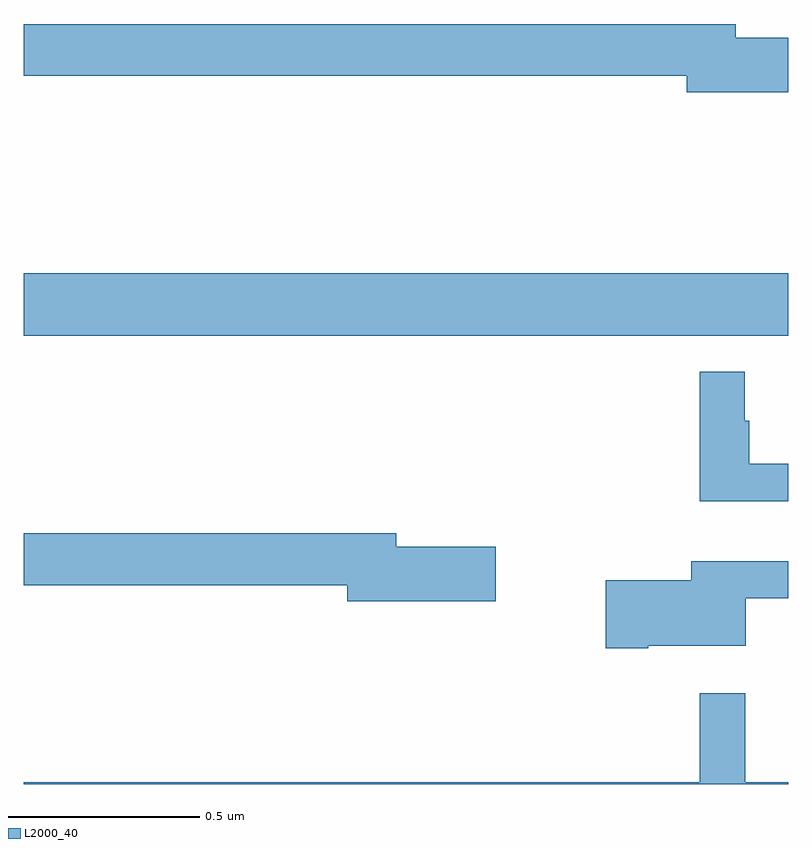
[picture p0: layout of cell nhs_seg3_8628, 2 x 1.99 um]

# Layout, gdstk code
import gdstk
lib = gdstk.Library(unit=1e-6, precision=1e-09)
def R(c, l, rs):  # rectangles x0, y0, x1, y1
    for r in rs: c.add(gdstk.rectangle(r[:2], r[2:], *l))
def P(c, l, *ps):  # polygons
    for p in ps: c.add(gdstk.Polygon(p, *l))
L2000_40 = (2000, 40)

nhs_seg3_8628 = lib.new_cell('nhs_seg3_8628')
R(nhs_seg3_8628, L2000_40, [(218,711.572,220,711.736)])
P(nhs_seg3_8628, L2000_40, [(220,712.352),(219.862,712.352),(219.862,712.388),(218,712.388),(218,712.252),(219.734,712.252),(219.734,712.21),(220,712.21)],
  [(220,711.238),(219.898,711.238),(219.898,711.35),(219.886,711.35),(219.886,711.478),(219.769,711.478),(219.769,711.14),(220,711.14)],
  [(219.235,711.02),(218.974,711.02),(218.974,711.056),(218,711.056),(218,710.92),(218.846,710.92),(218.846,710.878),(219.235,710.878)],
  [(219.634,710.762),(219.889,710.762),(219.889,710.886),(220,710.886),(220,710.983),(219.746,710.983),(219.746,710.933),(219.522,710.933),(219.522,710.755),(219.634,710.755)],
  [(220,710.404),(219.887,710.404),(219.887,710.638),(219.769,710.638),(219.769,710.404),(218,710.404),(218,710.4),(220,710.4)])

lib.write_gds('nhs_seg3_8628.gds')
